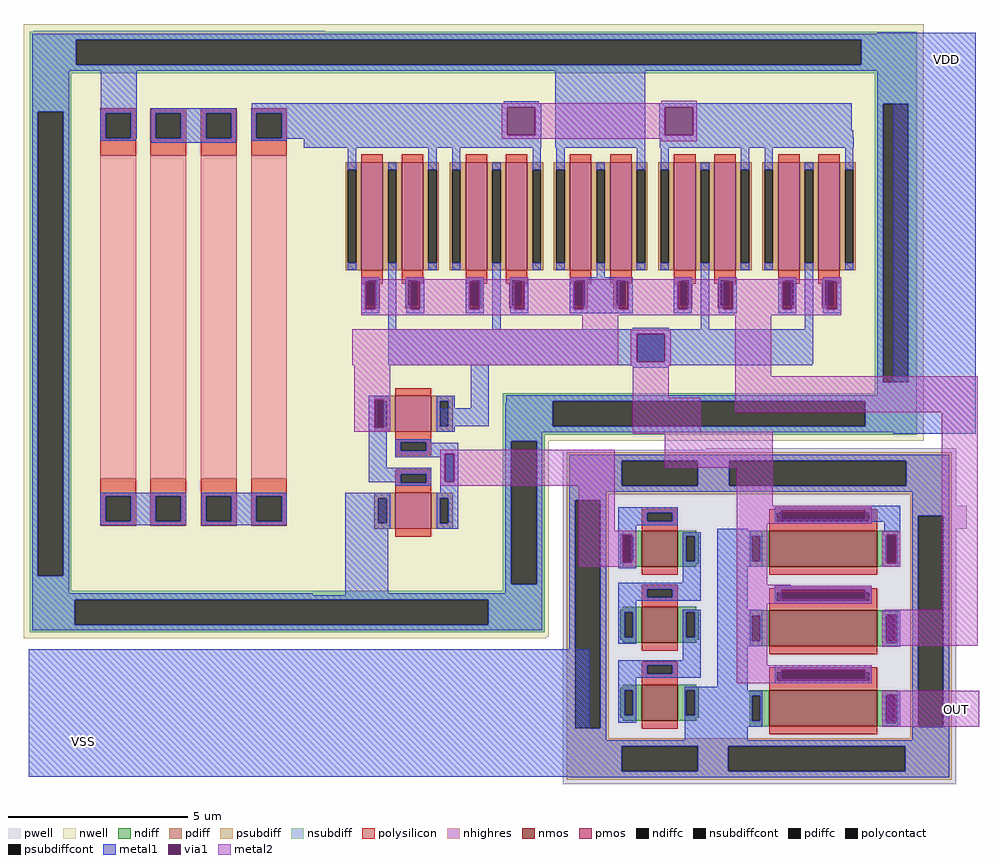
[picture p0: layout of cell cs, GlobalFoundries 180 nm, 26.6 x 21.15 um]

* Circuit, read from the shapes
.subckt cs VDD VSS OUT
XM1 VSS n1 n1 VSS nfet_03v3 w=1u l=1u
XM2 n1 n2 n2 VSS nfet_03v3 w=1u l=1u
XM3 n2 n3 n3 VSS nfet_03v3 w=1u l=1u
XM4 OUT n4 VSS VSS nfet_03v3 w=1u l=3u
XM5 n5 n4 VSS VSS nfet_03v3 w=1u l=3u
XM6 n4 n4 VSS VSS nfet_03v3 w=1u l=3u
XM7 n4 n5 n6 VDD pfet_03v3 w=3u l=0.6u m=8
XM8 n3 n5 VDD VDD pfet_03v3 w=1u l=1u
XM9 n4 n3 n5 VDD pfet_03v3 w=1u l=1u
XM10 n5 n5 VDD VDD pfet_03v3 w=3u l=0.6u m=2
XR11 VDD n7 VSS ppolyf_u_1k r_width=1u r_length=9u
XR12 n8 n7 VSS ppolyf_u_1k r_width=1u r_length=9u
XR13 n8 n9 VSS ppolyf_u_1k r_width=1u r_length=9u
XR14 n6 n9 VSS ppolyf_u_1k r_width=1u r_length=9u
.ends

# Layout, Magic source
magic
tech gf180mcuD
magscale 1 10
<< pwell >>
rect 6400 4570 6670 4660
rect 6420 4560 6670 4570
rect 6560 4530 6670 4560
rect 5220 3330 5330 3650
<< psubdiff >>
rect 5230 4940 5330 4943
rect 5230 4737 5330 4740
rect 5230 3350 5330 3353
rect 5230 3147 5330 3150
<< metal1 >>
rect 6171 6980 6720 7290
rect 4810 5616 5010 5648
rect 4810 5460 4832 5616
rect 4988 5460 5010 5616
rect 4810 5428 5010 5460
rect 6260 5060 6720 6980
rect 3750 4948 3830 4960
rect 3750 4792 3764 4948
rect 3816 4792 3830 4948
rect 5230 4940 5330 4943
rect 3750 4780 3830 4792
rect 5230 4737 5330 4740
rect 4740 4498 4820 4510
rect 4740 4342 4754 4498
rect 4806 4342 4820 4498
rect 4740 4330 4820 4342
rect 1450 3150 4570 3860
rect 5220 3350 5330 3650
rect 5220 3330 5230 3350
rect 5230 3147 5330 3150
<< via1 >>
rect 4832 5460 4988 5616
rect 3764 4792 3816 4948
rect 4754 4342 4806 4498
<< metal2 >>
rect 4798 5616 5022 5638
rect 4798 5460 4832 5616
rect 4988 5460 5022 5616
rect 4798 5438 5022 5460
rect 4810 5260 5010 5438
rect 5380 5380 5580 5920
rect 4810 5070 5190 5260
rect 5380 5180 6730 5380
rect 4810 5060 5590 5070
rect 3740 4948 4710 4970
rect 3740 4792 3764 4948
rect 3816 4792 4710 4948
rect 4990 4870 5590 5060
rect 3740 4770 4710 4792
rect 4510 4520 4710 4770
rect 5390 4580 5590 4870
rect 4510 4498 4830 4520
rect 4510 4342 4754 4498
rect 4806 4342 4830 4498
rect 4510 4320 4830 4342
rect 6530 4080 6730 5180
rect 6210 3880 6730 4080
rect 6200 3430 6740 3630
use cs_m8  cs_m8_0
transform 1 0 5650 0 1 5230
box -1230 -2120 -129 -260
use cs_m12  cs_m12_0
transform 1 0 50 0 1 5380
box 1370 -1460 6380 1960
use cs_m345  cs_m345_1
transform 1 0 3140 0 1 5130
box 2039 -2020 3470 -110
<< labels >>
rlabel metal1 s 6460 7080 6650 7210 4 VDD
port 1 nsew
rlabel metal1 s 1660 3280 1850 3410 4 VSS
port 2 nsew
rlabel metal2 s 6520 3460 6710 3590 4 OUT
port 3 nsew
<< end >>

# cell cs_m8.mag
magic
tech gf180mcuD
magscale 1 10
<< pwell >>
rect -1230 -2120 -390 -260
<< nmos >>
rect -790 -910 -590 -710
rect -790 -1334 -590 -1134
rect -790 -1768 -590 -1568
<< ndiff >>
rect -895 -727 -790 -710
rect -908 -740 -790 -727
rect -908 -880 -885 -740
rect -839 -880 -790 -740
rect -908 -893 -790 -880
rect -895 -910 -790 -893
rect -590 -727 -485 -710
rect -590 -740 -472 -727
rect -590 -880 -541 -740
rect -495 -880 -472 -740
rect -590 -893 -472 -880
rect -590 -910 -485 -893
rect -895 -1151 -790 -1134
rect -908 -1164 -790 -1151
rect -908 -1304 -885 -1164
rect -839 -1304 -790 -1164
rect -908 -1317 -790 -1304
rect -895 -1334 -790 -1317
rect -590 -1151 -485 -1134
rect -590 -1164 -472 -1151
rect -590 -1304 -541 -1164
rect -495 -1304 -472 -1164
rect -590 -1317 -472 -1304
rect -590 -1334 -485 -1317
rect -895 -1585 -790 -1568
rect -908 -1598 -790 -1585
rect -908 -1738 -885 -1598
rect -839 -1738 -790 -1598
rect -908 -1751 -790 -1738
rect -895 -1768 -790 -1751
rect -590 -1585 -485 -1568
rect -590 -1598 -472 -1585
rect -590 -1738 -541 -1598
rect -495 -1738 -472 -1598
rect -590 -1751 -472 -1738
rect -590 -1768 -485 -1751
<< ndiffc >>
rect -885 -880 -839 -740
rect -541 -880 -495 -740
rect -885 -1304 -839 -1164
rect -541 -1304 -495 -1164
rect -885 -1738 -839 -1598
rect -541 -1738 -495 -1598
<< psubdiff >>
rect -1206 -320 -406 -274
rect -1206 -460 -901 -320
rect -479 -460 -406 -320
rect -1206 -506 -406 -460
rect -1206 -541 -974 -506
rect -1206 -1809 -1160 -541
rect -1020 -1809 -974 -541
rect -1206 -1864 -974 -1809
rect -1206 -1910 -406 -1864
rect -1206 -2050 -901 -1910
rect -479 -2050 -406 -1910
rect -1206 -2096 -406 -2050
<< psubdiffcont >>
rect -901 -460 -479 -320
rect -1160 -1809 -1020 -541
rect -901 -2050 -479 -1910
<< polysilicon >>
rect -781 -590 -599 -588
rect -790 -611 -590 -590
rect -790 -657 -760 -611
rect -620 -657 -590 -611
rect -790 -710 -590 -657
rect -790 -954 -590 -910
rect -790 -1035 -590 -1010
rect -790 -1081 -760 -1035
rect -620 -1081 -590 -1035
rect -790 -1134 -590 -1081
rect -790 -1378 -590 -1334
rect -781 -1440 -599 -1436
rect -790 -1459 -590 -1440
rect -790 -1505 -760 -1459
rect -620 -1505 -590 -1459
rect -790 -1568 -590 -1505
rect -790 -1812 -590 -1768
<< polycontact >>
rect -760 -657 -620 -611
rect -760 -1081 -620 -1035
rect -760 -1505 -620 -1459
<< metal1 >>
rect -1193 -320 -400 -287
rect -1193 -460 -901 -320
rect -479 -460 -400 -320
rect -1193 -493 -400 -460
rect -1193 -541 -987 -493
rect -1193 -1809 -1160 -541
rect -1020 -1809 -987 -541
rect -920 -611 -590 -580
rect -920 -657 -760 -611
rect -620 -657 -590 -611
rect -920 -680 -590 -657
rect -920 -740 -820 -680
rect -920 -880 -885 -740
rect -839 -880 -820 -740
rect -920 -920 -820 -880
rect -560 -740 -460 -720
rect -560 -880 -541 -740
rect -495 -880 -460 -740
rect -560 -1000 -460 -880
rect -920 -1035 -460 -1000
rect -920 -1081 -760 -1035
rect -620 -1081 -460 -1035
rect -920 -1100 -460 -1081
rect -920 -1164 -820 -1100
rect -920 -1304 -885 -1164
rect -839 -1304 -820 -1164
rect -920 -1340 -820 -1304
rect -560 -1164 -460 -1150
rect -560 -1304 -541 -1164
rect -495 -1304 -460 -1164
rect -560 -1430 -460 -1304
rect -175 -1352 -154 -1350
rect -920 -1459 -460 -1430
rect -920 -1505 -760 -1459
rect -620 -1505 -460 -1459
rect -920 -1530 -460 -1505
rect -920 -1598 -820 -1530
rect -920 -1738 -885 -1598
rect -839 -1738 -820 -1598
rect -920 -1780 -820 -1738
rect -551 -1598 -400 -1580
rect -551 -1738 -541 -1598
rect -495 -1738 -400 -1598
rect -551 -1749 -400 -1738
rect -1193 -1877 -987 -1809
rect -550 -1877 -400 -1749
rect -1193 -1910 -400 -1877
rect -1193 -2050 -901 -1910
rect -479 -2050 -400 -1910
rect -1193 -2083 -400 -2050
<< end >>

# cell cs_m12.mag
magic
tech gf180mcuD
magscale 1 10
<< nwell >>
rect 1370 -360 6380 1960
rect 1370 -1450 4294 -360
rect 1370 -1460 4280 -1450
<< pmos >>
rect 3250 590 3370 1190
rect 3474 590 3594 1190
rect 3830 590 3950 1190
rect 4054 590 4174 1190
rect 4410 590 4530 1190
rect 4634 590 4754 1190
rect 4990 590 5110 1190
rect 5214 590 5334 1190
rect 5570 590 5690 1190
rect 5794 590 5914 1190
<< pdiff >>
rect 3162 1148 3250 1190
rect 3162 632 3175 1148
rect 3221 632 3250 1148
rect 3162 590 3250 632
rect 3370 1148 3474 1190
rect 3370 632 3399 1148
rect 3445 632 3474 1148
rect 3370 590 3474 632
rect 3594 1148 3682 1190
rect 3594 632 3623 1148
rect 3669 632 3682 1148
rect 3594 590 3682 632
rect 3742 1148 3830 1190
rect 3742 632 3755 1148
rect 3801 632 3830 1148
rect 3742 590 3830 632
rect 3950 1148 4054 1190
rect 3950 632 3979 1148
rect 4025 632 4054 1148
rect 3950 590 4054 632
rect 4174 1148 4262 1190
rect 4174 632 4203 1148
rect 4249 632 4262 1148
rect 4174 590 4262 632
rect 4322 1148 4410 1190
rect 4322 632 4335 1148
rect 4381 632 4410 1148
rect 4322 590 4410 632
rect 4530 1148 4634 1190
rect 4530 632 4559 1148
rect 4605 632 4634 1148
rect 4530 590 4634 632
rect 4754 1148 4842 1190
rect 4754 632 4783 1148
rect 4829 632 4842 1148
rect 4754 590 4842 632
rect 4902 1148 4990 1190
rect 4902 632 4915 1148
rect 4961 632 4990 1148
rect 4902 590 4990 632
rect 5110 1148 5214 1190
rect 5110 632 5139 1148
rect 5185 632 5214 1148
rect 5110 590 5214 632
rect 5334 1148 5422 1190
rect 5334 632 5363 1148
rect 5409 632 5422 1148
rect 5334 590 5422 632
rect 5482 1148 5570 1190
rect 5482 632 5495 1148
rect 5541 632 5570 1148
rect 5482 590 5570 632
rect 5690 1148 5794 1190
rect 5690 632 5719 1148
rect 5765 632 5794 1148
rect 5690 590 5794 632
rect 5914 1148 6002 1190
rect 5914 632 5943 1148
rect 5989 632 6002 1148
rect 5914 590 6002 632
<< pdiffc >>
rect 3175 632 3221 1148
rect 3399 632 3445 1148
rect 3623 632 3669 1148
rect 3755 632 3801 1148
rect 3979 632 4025 1148
rect 4203 632 4249 1148
rect 4335 632 4381 1148
rect 4559 632 4605 1148
rect 4783 632 4829 1148
rect 4915 632 4961 1148
rect 5139 632 5185 1148
rect 5363 632 5409 1148
rect 5495 632 5541 1148
rect 5719 632 5765 1148
rect 5943 632 5989 1148
<< nsubdiff >>
rect 1424 1918 3048 1922
rect 1404 1872 6340 1918
rect 1404 1732 1662 1872
rect 6032 1732 6340 1872
rect 1404 1686 6340 1732
rect 1404 1472 1636 1686
rect 6108 1515 6340 1686
rect 1404 -1112 1450 1472
rect 1590 -1112 1636 1472
rect 6108 -35 6154 1515
rect 6294 -35 6340 1515
rect 6108 -94 6340 -35
rect 4038 -140 6340 -94
rect 4038 -280 4316 -140
rect 6054 -280 6340 -140
rect 4038 -326 6340 -280
rect 4038 -361 4270 -326
rect 1404 -1194 1636 -1112
rect 4038 -1159 4085 -361
rect 4225 -1159 4270 -361
rect 4038 -1194 4270 -1159
rect 1404 -1245 4270 -1194
rect 1404 -1385 1654 -1245
rect 3956 -1385 4270 -1245
rect 1404 -1426 4270 -1385
<< nsubdiffcont >>
rect 1662 1732 6032 1872
rect 1450 -1112 1590 1472
rect 6154 -35 6294 1515
rect 4316 -280 6054 -140
rect 4085 -1159 4225 -361
rect 1654 -1385 3956 -1245
<< polysilicon >>
rect 1796 1464 1996 1490
rect 1796 1324 1826 1464
rect 1966 1324 1996 1464
rect 1796 1228 1996 1324
rect 1796 -668 1996 -572
rect 1796 -808 1826 -668
rect 1966 -808 1996 -668
rect 1796 -834 1996 -808
rect 2076 1464 2276 1490
rect 2076 1324 2106 1464
rect 2246 1324 2276 1464
rect 2076 1228 2276 1324
rect 2076 -668 2276 -572
rect 2076 -808 2106 -668
rect 2246 -808 2276 -668
rect 2076 -834 2276 -808
rect 2356 1464 2556 1490
rect 2356 1324 2386 1464
rect 2526 1324 2556 1464
rect 2356 1228 2556 1324
rect 2356 -668 2556 -572
rect 2356 -808 2386 -668
rect 2526 -808 2556 -668
rect 2356 -834 2556 -808
rect 2636 1464 2836 1490
rect 2636 1324 2666 1464
rect 2806 1324 2836 1464
rect 2636 1228 2836 1324
rect 3250 1190 3370 1234
rect 3474 1190 3594 1234
rect 3830 1190 3950 1234
rect 4054 1190 4174 1234
rect 4410 1190 4530 1234
rect 4634 1190 4754 1234
rect 4990 1190 5110 1234
rect 5214 1190 5334 1234
rect 5570 1190 5690 1234
rect 5794 1190 5914 1234
rect 3250 534 3370 590
rect 3250 514 3287 534
rect 3269 394 3287 514
rect 3333 514 3370 534
rect 3474 534 3594 590
rect 3474 514 3511 534
rect 3333 394 3351 514
rect 3269 378 3351 394
rect 3493 394 3511 514
rect 3557 514 3594 534
rect 3830 534 3950 590
rect 3830 514 3867 534
rect 3557 394 3575 514
rect 3493 378 3575 394
rect 3849 394 3867 514
rect 3913 514 3950 534
rect 4054 534 4174 590
rect 4054 514 4091 534
rect 3913 394 3931 514
rect 3849 378 3931 394
rect 4073 394 4091 514
rect 4137 514 4174 534
rect 4410 534 4530 590
rect 4410 514 4447 534
rect 4137 394 4155 514
rect 4073 378 4155 394
rect 4429 394 4447 514
rect 4493 514 4530 534
rect 4634 534 4754 590
rect 4634 514 4671 534
rect 4493 394 4511 514
rect 4429 378 4511 394
rect 4653 394 4671 514
rect 4717 514 4754 534
rect 4990 534 5110 590
rect 4990 514 5027 534
rect 4717 394 4735 514
rect 4653 378 4735 394
rect 5009 394 5027 514
rect 5073 514 5110 534
rect 5214 534 5334 590
rect 5214 514 5251 534
rect 5073 394 5091 514
rect 5009 378 5091 394
rect 5233 394 5251 514
rect 5297 514 5334 534
rect 5570 534 5690 590
rect 5570 514 5607 534
rect 5297 394 5315 514
rect 5233 378 5315 394
rect 5589 394 5607 514
rect 5653 514 5690 534
rect 5794 534 5914 590
rect 5794 514 5831 534
rect 5653 394 5671 514
rect 5589 378 5671 394
rect 5813 394 5831 514
rect 5877 514 5914 534
rect 5877 394 5895 514
rect 5813 378 5895 394
rect 2636 -668 2836 -572
rect 2636 -808 2666 -668
rect 2806 -808 2836 -668
rect 2636 -834 2836 -808
<< polycontact >>
rect 1826 1324 1966 1464
rect 1826 -808 1966 -668
rect 2106 1324 2246 1464
rect 2106 -808 2246 -668
rect 2386 1324 2526 1464
rect 2386 -808 2526 -668
rect 2666 1324 2806 1464
rect 3287 394 3333 534
rect 3511 394 3557 534
rect 3867 394 3913 534
rect 4091 394 4137 534
rect 4447 394 4493 534
rect 4671 394 4717 534
rect 5027 394 5073 534
rect 5251 394 5297 534
rect 5607 394 5653 534
rect 5831 394 5877 534
rect 2666 -808 2806 -668
<< nhighres >>
rect 1796 -572 1996 1228
rect 2076 -572 2276 1228
rect 2356 -572 2556 1228
rect 2636 -572 2836 1228
<< metal1 >>
rect 1417 1872 6327 1905
rect 1417 1732 1662 1872
rect 6032 1732 6327 1872
rect 1417 1699 6327 1732
rect 1417 1472 1623 1699
rect 1800 1477 2000 1699
rect 4042 1520 4238 1530
rect 2640 1498 4250 1520
rect 2080 1477 2550 1490
rect 2640 1477 4062 1498
rect 1417 -1112 1450 1472
rect 1590 -1112 1623 1472
rect 1798 1464 2000 1477
rect 1798 1324 1826 1464
rect 1966 1324 2000 1464
rect 1798 1320 2000 1324
rect 2078 1464 2554 1477
rect 2078 1324 2106 1464
rect 2246 1324 2386 1464
rect 2526 1324 2554 1464
rect 1798 1311 1994 1320
rect 2078 1311 2554 1324
rect 2638 1464 4062 1477
rect 2638 1324 2666 1464
rect 2806 1342 4062 1464
rect 4218 1342 4250 1498
rect 2806 1324 4250 1342
rect 2638 1320 4250 1324
rect 2638 1311 2834 1320
rect 2080 1300 2550 1311
rect 2930 1270 4250 1320
rect 4330 1270 4830 1699
rect 4908 1498 5980 1520
rect 4908 1342 4940 1498
rect 5096 1370 5980 1498
rect 6121 1515 6327 1699
rect 5096 1342 5989 1370
rect 4908 1330 5989 1342
rect 4910 1270 5990 1330
rect 3175 1148 3221 1270
rect 3175 592 3221 632
rect 3399 1148 3445 1188
rect 3250 534 3350 550
rect 3250 528 3287 534
rect 3250 372 3274 528
rect 3333 394 3350 534
rect 3326 372 3350 394
rect 3250 350 3350 372
rect 3399 260 3445 632
rect 3623 1148 3669 1270
rect 3623 592 3669 632
rect 3755 1148 3801 1270
rect 3755 592 3801 632
rect 3979 1148 4025 1188
rect 3500 537 3600 550
rect 3495 534 3600 537
rect 3495 394 3511 534
rect 3557 528 3600 534
rect 3495 391 3524 394
rect 3500 372 3524 391
rect 3576 372 3600 528
rect 3500 350 3600 372
rect 3830 534 3930 550
rect 3830 528 3867 534
rect 3830 372 3854 528
rect 3913 394 3930 534
rect 3906 372 3930 394
rect 3830 350 3930 372
rect 3979 260 4025 632
rect 4203 1148 4249 1270
rect 4203 592 4249 632
rect 4335 1148 4381 1270
rect 4335 592 4381 632
rect 4559 1148 4605 1188
rect 4559 550 4605 632
rect 4783 1148 4829 1270
rect 4783 592 4829 632
rect 4915 1148 4961 1270
rect 4915 592 4961 632
rect 5139 1148 5185 1188
rect 4080 537 4180 550
rect 4075 534 4180 537
rect 4075 394 4091 534
rect 4137 528 4180 534
rect 4075 391 4104 394
rect 4080 372 4104 391
rect 4156 372 4180 528
rect 4080 350 4180 372
rect 4410 534 4760 550
rect 4410 528 4447 534
rect 4410 372 4434 528
rect 4493 394 4671 534
rect 4717 528 4760 534
rect 4486 372 4684 394
rect 4736 372 4760 528
rect 4410 350 4760 372
rect 4990 534 5090 550
rect 4990 528 5027 534
rect 4990 372 5014 528
rect 5073 394 5090 534
rect 5066 372 5090 394
rect 4990 350 5090 372
rect 5139 260 5185 632
rect 5363 1148 5409 1270
rect 5363 592 5409 632
rect 5495 1148 5541 1270
rect 5495 592 5541 632
rect 5719 1148 5765 1188
rect 5240 537 5340 550
rect 5235 534 5340 537
rect 5235 394 5251 534
rect 5297 528 5340 534
rect 5235 391 5264 394
rect 5240 372 5264 391
rect 5316 372 5340 528
rect 5240 350 5340 372
rect 5570 534 5670 550
rect 5570 528 5607 534
rect 5570 372 5594 528
rect 5653 394 5670 534
rect 5646 372 5670 394
rect 5570 350 5670 372
rect 5719 260 5765 632
rect 5943 1148 5989 1270
rect 5943 592 5989 632
rect 5820 537 5920 550
rect 5815 534 5920 537
rect 5815 394 5831 534
rect 5877 528 5920 534
rect 5815 391 5844 394
rect 5820 372 5844 391
rect 5896 372 5920 528
rect 5820 350 5920 372
rect 3399 70 5765 260
rect 3400 60 5760 70
rect 3300 -132 3400 -120
rect 3300 -288 3324 -132
rect 3376 -288 3400 -132
rect 3860 -180 3960 60
rect 6121 -35 6154 1515
rect 6294 -35 6327 1515
rect 6121 -107 6327 -35
rect 4057 -140 6327 -107
rect 4057 -150 4316 -140
rect 3680 -280 3960 -180
rect 4051 -280 4316 -150
rect 6054 -280 6327 -140
rect 3300 -300 3400 -288
rect 4051 -313 6327 -280
rect 4051 -361 4257 -313
rect 1800 -655 2270 -650
rect 2360 -655 2830 -650
rect 1798 -668 2274 -655
rect 1798 -808 1826 -668
rect 1966 -808 2106 -668
rect 2246 -808 2274 -668
rect 1798 -821 2274 -808
rect 2358 -668 2834 -655
rect 2358 -808 2386 -668
rect 2526 -808 2666 -668
rect 2806 -808 2834 -668
rect 2358 -821 2834 -808
rect 1800 -830 2270 -821
rect 2360 -830 2830 -821
rect 1417 -1207 1623 -1112
rect 3160 -1207 3400 -680
rect 4051 -1159 4085 -361
rect 4225 -1159 4257 -361
rect 4051 -1207 4257 -1159
rect 1417 -1220 2980 -1207
rect 3160 -1220 4257 -1207
rect 1417 -1245 4257 -1220
rect 1417 -1385 1654 -1245
rect 3956 -1385 4257 -1245
rect 1417 -1413 4257 -1385
<< via1 >>
rect 4062 1342 4218 1498
rect 4940 1342 5096 1498
rect 3274 394 3287 528
rect 3287 394 3326 528
rect 3274 372 3326 394
rect 3524 394 3557 528
rect 3557 394 3576 528
rect 3524 372 3576 394
rect 3854 394 3867 528
rect 3867 394 3906 528
rect 3854 372 3906 394
rect 4104 394 4137 528
rect 4137 394 4156 528
rect 4104 372 4156 394
rect 4434 394 4447 528
rect 4447 394 4486 528
rect 4684 394 4717 528
rect 4717 394 4736 528
rect 4434 372 4486 394
rect 4684 372 4736 394
rect 5014 394 5027 528
rect 5027 394 5066 528
rect 5014 372 5066 394
rect 5264 394 5297 528
rect 5297 394 5316 528
rect 5264 372 5316 394
rect 5594 394 5607 528
rect 5607 394 5646 528
rect 5594 372 5646 394
rect 5844 394 5877 528
rect 5877 394 5896 528
rect 5844 372 5896 394
rect 3324 -288 3376 -132
<< metal2 >>
rect 4918 1520 5118 1532
rect 4030 1498 5118 1520
rect 4030 1342 4062 1498
rect 4218 1342 4940 1498
rect 5096 1342 5118 1498
rect 4030 1320 5118 1342
rect 4918 1308 5118 1320
rect 3250 540 3350 550
rect 3500 540 3600 550
rect 3830 540 3930 550
rect 4080 540 4180 550
rect 4410 540 4510 550
rect 4660 540 4760 550
rect 4990 540 5090 550
rect 5240 540 5340 550
rect 5570 540 5670 550
rect 5820 540 5920 550
rect 3250 528 5920 540
rect 3250 372 3274 528
rect 3326 372 3524 528
rect 3576 372 3854 528
rect 3906 372 4104 528
rect 4156 372 4434 528
rect 4486 372 4684 528
rect 4736 372 5014 528
rect 5066 372 5264 528
rect 5316 372 5594 528
rect 5646 372 5844 528
rect 5896 372 5920 528
rect 3250 340 5920 372
rect 4480 260 4680 340
rect 3200 60 4680 260
rect 3210 -132 3410 60
rect 3210 -288 3324 -132
rect 3376 -288 3410 -132
rect 3210 -310 3410 -288
use cs_m67  cs_m67_0
transform 1 0 4530 0 -1 290
box -1370 270 -640 1350
<< end >>

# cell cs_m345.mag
magic
tech gf180mcuD
magscale 1 10
<< pwell >>
rect 2080 -2020 3470 -150
<< nmos >>
rect 2430 -810 3030 -610
rect 2430 -1254 3030 -1054
rect 2430 -1698 3030 -1498
<< ndiff >>
rect 2322 -640 2430 -610
rect 2322 -780 2335 -640
rect 2381 -780 2430 -640
rect 2322 -810 2430 -780
rect 3030 -640 3148 -610
rect 3030 -780 3079 -640
rect 3125 -780 3148 -640
rect 3030 -810 3148 -780
rect 2322 -1084 2430 -1054
rect 2322 -1224 2335 -1084
rect 2381 -1224 2430 -1084
rect 2322 -1254 2430 -1224
rect 3030 -1084 3148 -1054
rect 3030 -1224 3079 -1084
rect 3125 -1224 3148 -1084
rect 3030 -1254 3148 -1224
rect 2322 -1528 2430 -1498
rect 2322 -1668 2335 -1528
rect 2381 -1668 2430 -1528
rect 2322 -1698 2430 -1668
rect 3030 -1528 3148 -1498
rect 3030 -1668 3079 -1528
rect 3125 -1668 3148 -1528
rect 3030 -1698 3148 -1668
<< ndiffc >>
rect 2335 -780 2381 -640
rect 3079 -780 3125 -640
rect 2335 -1224 2381 -1084
rect 3079 -1224 3125 -1084
rect 2335 -1668 2381 -1528
rect 3079 -1668 3125 -1528
<< psubdiff >>
rect 2070 -187 3446 -174
rect 2039 -220 3446 -187
rect 2039 -360 2207 -220
rect 3193 -360 3446 -220
rect 2039 -393 3446 -360
rect 2070 -406 3446 -393
rect 3214 -528 3446 -406
rect 3214 -1702 3260 -528
rect 3400 -1702 3446 -528
rect 3214 -1764 3446 -1702
rect 2080 -1790 3446 -1764
rect 2100 -1810 3446 -1790
rect 2100 -1950 2202 -1810
rect 3188 -1950 3446 -1810
rect 2100 -1970 3446 -1950
rect 2080 -1996 3446 -1970
<< psubdiffcont >>
rect 2207 -360 3193 -220
rect 3260 -1702 3400 -528
rect 2202 -1950 3188 -1810
<< polysilicon >>
rect 2460 -488 3000 -482
rect 2459 -490 3001 -488
rect 2430 -511 3030 -490
rect 2430 -557 2472 -511
rect 2988 -557 3030 -511
rect 2430 -610 3030 -557
rect 2430 -854 3030 -810
rect 2460 -930 3000 -926
rect 2430 -955 3030 -930
rect 2430 -1001 2472 -955
rect 2988 -1001 3030 -955
rect 2430 -1054 3030 -1001
rect 2430 -1298 3030 -1254
rect 2430 -1399 3030 -1370
rect 2430 -1445 2472 -1399
rect 2988 -1445 3030 -1399
rect 2430 -1498 3030 -1445
rect 2430 -1742 3030 -1698
<< polycontact >>
rect 2472 -557 2988 -511
rect 2472 -1001 2988 -955
rect 2472 -1445 2988 -1399
<< metal1 >>
rect 2070 -220 3433 -187
rect 2070 -360 2207 -220
rect 3193 -360 3433 -220
rect 2070 -393 3433 -360
rect 2930 -472 3160 -470
rect 2460 -496 3160 -472
rect 2460 -511 2496 -496
rect 2964 -511 3160 -496
rect 2460 -557 2472 -511
rect 2988 -557 3160 -511
rect 2460 -560 3160 -557
rect 2460 -572 3000 -560
rect 2140 -610 2310 -600
rect 2140 -640 2390 -610
rect 3070 -612 3160 -560
rect 2140 -780 2335 -640
rect 2381 -780 2390 -640
rect 2140 -810 2390 -780
rect 3060 -634 3160 -612
rect 3060 -640 3084 -634
rect 3060 -780 3079 -640
rect 3060 -790 3084 -780
rect 3136 -790 3160 -634
rect 2140 -1050 2310 -810
rect 3060 -812 3160 -790
rect 3227 -528 3433 -393
rect 2460 -940 3000 -916
rect 2460 -955 2496 -940
rect 2964 -955 3000 -940
rect 2460 -1001 2472 -955
rect 2988 -1001 3000 -955
rect 2460 -1016 3000 -1001
rect 2140 -1084 2390 -1050
rect 2140 -1224 2335 -1084
rect 2381 -1224 2390 -1084
rect 2140 -1250 2390 -1224
rect 3060 -1078 3160 -1056
rect 3060 -1084 3084 -1078
rect 3060 -1224 3079 -1084
rect 3060 -1234 3084 -1224
rect 3136 -1234 3160 -1078
rect 2140 -1252 2381 -1250
rect 2140 -1500 2310 -1252
rect 3060 -1256 3160 -1234
rect 2460 -1384 3000 -1360
rect 2460 -1399 2496 -1384
rect 2964 -1399 3000 -1384
rect 2460 -1445 2472 -1399
rect 2988 -1445 3000 -1399
rect 2460 -1460 3000 -1445
rect 2140 -1528 2390 -1500
rect 2140 -1668 2335 -1528
rect 2381 -1668 2390 -1528
rect 2140 -1700 2390 -1668
rect 3060 -1522 3160 -1500
rect 3060 -1528 3084 -1522
rect 3060 -1668 3079 -1528
rect 3060 -1678 3084 -1668
rect 3136 -1678 3160 -1522
rect 3060 -1700 3160 -1678
rect 2140 -1777 2310 -1700
rect 3227 -1702 3260 -528
rect 3400 -1702 3433 -528
rect 3227 -1777 3433 -1702
rect 2039 -1810 3433 -1777
rect 2039 -1950 2202 -1810
rect 3188 -1950 3433 -1810
rect 2039 -1983 3433 -1950
<< via1 >>
rect 2496 -511 2964 -496
rect 2496 -548 2964 -511
rect 3084 -640 3136 -634
rect 3084 -780 3125 -640
rect 3125 -780 3136 -640
rect 3084 -790 3136 -780
rect 2496 -955 2964 -940
rect 2496 -992 2964 -955
rect 3084 -1084 3136 -1078
rect 3084 -1224 3125 -1084
rect 3125 -1224 3136 -1084
rect 3084 -1234 3136 -1224
rect 2496 -1399 2964 -1384
rect 2496 -1436 2964 -1399
rect 3084 -1528 3136 -1522
rect 3084 -1668 3125 -1528
rect 3125 -1668 3136 -1528
rect 3084 -1678 3136 -1668
<< metal2 >>
rect 2180 -260 2270 -110
rect 2250 -472 2550 -470
rect 2250 -496 3000 -472
rect 2250 -548 2496 -496
rect 2964 -548 3000 -496
rect 2250 -572 3000 -548
rect 2250 -910 2420 -572
rect 3060 -634 3160 -612
rect 3060 -790 3084 -634
rect 3136 -790 3160 -634
rect 3060 -812 3160 -790
rect 2250 -916 2550 -910
rect 2250 -940 3000 -916
rect 2250 -992 2496 -940
rect 2964 -992 3000 -940
rect 2250 -1016 3000 -992
rect 2250 -1360 2420 -1016
rect 3060 -1078 3160 -1056
rect 3060 -1234 3084 -1078
rect 3136 -1234 3160 -1078
rect 3060 -1256 3160 -1234
rect 2250 -1384 3000 -1360
rect 2250 -1436 2496 -1384
rect 2964 -1436 3000 -1384
rect 2250 -1460 3000 -1436
rect 3060 -1522 3160 -1500
rect 3060 -1678 3084 -1522
rect 3136 -1678 3160 -1522
rect 3060 -1700 3160 -1678
<< end >>

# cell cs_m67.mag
magic
tech gf180mcuD
magscale 1 10
<< nwell >>
rect -1370 270 -640 1350
<< pmos >>
rect -1090 940 -890 1140
rect -1090 400 -890 600
<< pdiff >>
rect -1208 1110 -1090 1140
rect -1208 970 -1185 1110
rect -1139 970 -1090 1110
rect -1208 940 -1090 970
rect -890 1110 -772 1140
rect -890 970 -841 1110
rect -795 970 -772 1110
rect -890 940 -772 970
rect -1208 570 -1090 600
rect -1208 430 -1185 570
rect -1139 430 -1090 570
rect -1208 400 -1090 430
rect -890 570 -772 600
rect -890 430 -841 570
rect -795 430 -772 570
rect -890 400 -772 430
<< pdiffc >>
rect -1185 970 -1139 1110
rect -841 970 -795 1110
rect -1185 430 -1139 570
rect -841 430 -795 570
<< polysilicon >>
rect -1090 1140 -890 1184
rect -1090 882 -890 940
rect -1090 836 -1060 882
rect -920 836 -890 882
rect -1090 810 -890 836
rect -1081 808 -899 810
rect -1081 730 -899 732
rect -1090 704 -890 730
rect -1090 658 -1060 704
rect -920 658 -890 704
rect -1090 600 -890 658
rect -1090 356 -890 400
<< polycontact >>
rect -1060 836 -920 882
rect -1060 658 -920 704
<< metal1 >>
rect -1370 1110 -1120 1140
rect -1370 970 -1185 1110
rect -1139 970 -1120 1110
rect -1370 940 -1120 970
rect -860 1110 -740 1140
rect -860 970 -841 1110
rect -795 970 -740 1110
rect -860 940 -740 970
rect -1090 882 -890 900
rect -1090 880 -1060 882
rect -1240 836 -1060 880
rect -920 836 -890 882
rect -1240 800 -890 836
rect -1240 600 -1140 800
rect -840 740 -740 940
rect -1090 704 -740 740
rect -1090 658 -1060 704
rect -920 660 -740 704
rect -920 658 -890 660
rect -1090 640 -890 658
rect -1240 570 -1120 600
rect -1240 430 -1185 570
rect -1139 430 -1120 570
rect -1240 400 -1120 430
rect -860 570 -760 600
rect -860 430 -841 570
rect -795 430 -760 570
rect -860 400 -760 430
<< end >>
